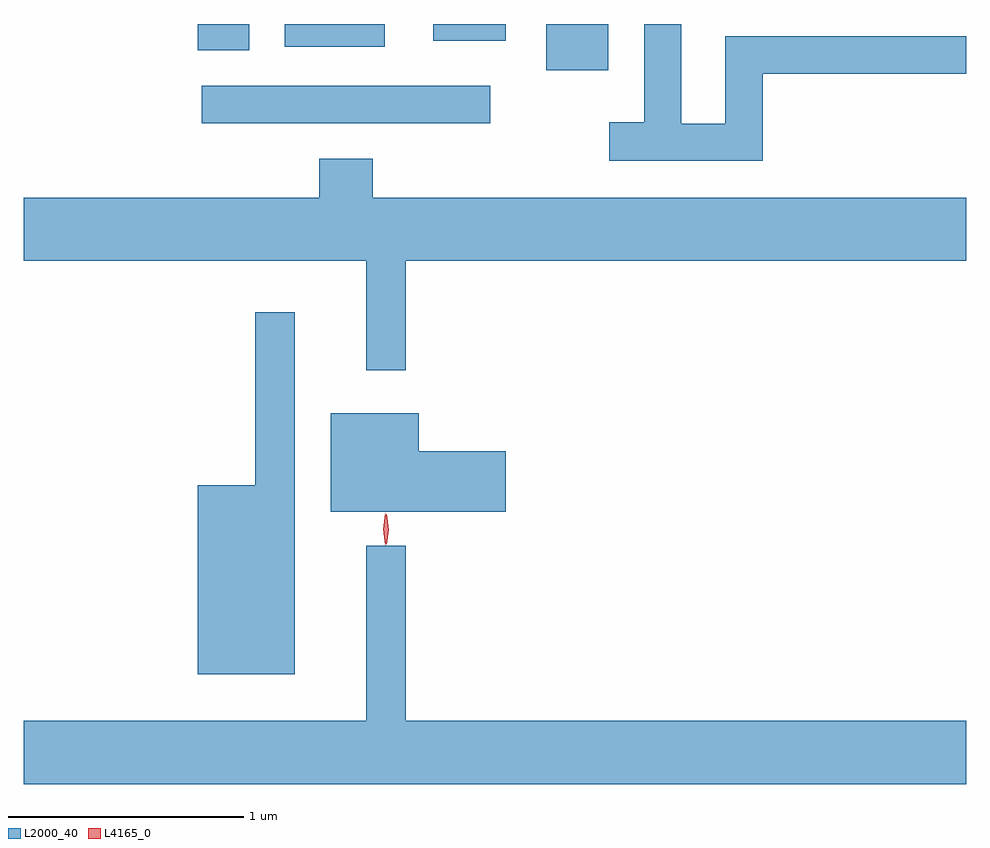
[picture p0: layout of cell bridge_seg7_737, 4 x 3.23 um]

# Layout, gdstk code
import gdstk
lib = gdstk.Library(unit=1e-6, precision=1e-09)
def R(c, l, rs):  # rectangles x0, y0, x1, y1
    for r in rs: c.add(gdstk.rectangle(r[:2], r[2:], *l))
def P(c, l, *ps):  # polygons
    for p in ps: c.add(gdstk.Polygon(p, *l))
L2000_40 = (2000, 40)
L4165_0 = (4165, 0)

bridge_seg7_737 = lib.new_cell('bridge_seg7_737')
R(bridge_seg7_737, L2000_40, [(464.693,1805.921,465.918,1806.079), (466.156,1806.146,466.419,1806.342), (464.676,1806.231,464.894,1806.342), (465.046,1806.246,465.469,1806.342), (465.676,1806.271,465.984,1806.342)])
P(bridge_seg7_737, L2000_40, [(467.074,1806.131),(467.938,1806.131),(467.938,1806.289),(466.916,1806.289),(466.916,1805.919),(466.729,1805.919),(466.729,1806.342),(466.571,1806.342),(466.571,1805.924),(466.423,1805.924),(466.423,1805.761),(467.074,1805.761)],
  [(465.559,1805.336),(467.938,1805.336),(467.938,1805.604),(465.419,1805.604),(465.419,1805.769),(465.191,1805.769),(465.191,1805.604),(463.938,1805.604),(463.938,1805.336),(465.391,1805.336),(465.391,1804.873),(465.559,1804.873)],
  [(465.089,1805.118),(464.921,1805.118),(464.921,1804.384),(464.676,1804.384),(464.676,1803.581),(465.089,1803.581)],
  [(465.984,1804.529),(465.614,1804.529),(465.614,1804.689),(465.241,1804.689),(465.241,1804.271),(465.984,1804.271)],
  [(467.938,1803.384),(465.559,1803.384),(465.559,1804.128),(465.391,1804.128),(465.391,1803.384),(463.938,1803.384),(463.938,1803.116),(467.938,1803.116)])
P(bridge_seg7_737, L4165_0, [(465.472,1804.13),(465.463,1804.198),(465.472,1804.265),(465.472,1804.266),(465.473,1804.265),(465.482,1804.198),(465.473,1804.13),(465.473,1804.13)],
  [(465.478,1804.133),(465.477,1804.134),(465.468,1804.196),(465.477,1804.26),(465.478,1804.26),(465.478,1804.26),(465.488,1804.196),(465.478,1804.134)])

lib.write_gds('bridge_seg7_737.gds')
